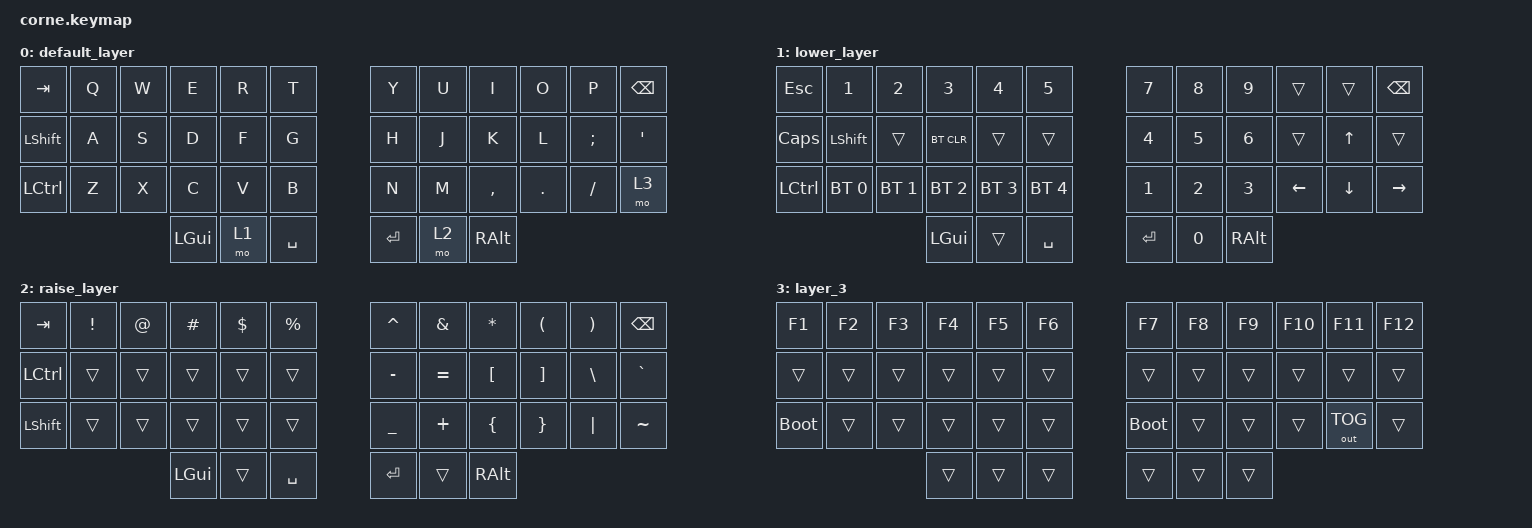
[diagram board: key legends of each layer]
/*
 * Copyright (c) 2020 The ZMK Contributors
 *
 * SPDX-License-Identifier: MIT
 */

#include <behaviors.dtsi>
#include <dt-bindings/zmk/bt.h>
#include <dt-bindings/zmk/keys.h>
#include <dt-bindings/zmk/outputs.h>

/ {
    keymap {
        compatible = "zmk,keymap";

        default_layer {
            // -----------------------------------------------------------------------------------------
            // |  TAB |  Q  |  W  |  E  |  R  |  T  |   |  Y  |  U   |  I  |  O  |  P  | BSPC |
            // | CTRL |  A  |  S  |  D  |  F  |  G  |   |  H  |  J   |  K  |  L  |  ;  |  '   |
            // | SHFT |  Z  |  X  |  C  |  V  |  B  |   |  N  |  M   |  ,  |  .  |  /  | ESC  |
            //                    | GUI | LWR | SPC |   | ENT | RSE  | ALT |

            bindings = <
&kp TAB           &kp Q  &kp W  &kp E     &kp R  &kp T        &kp Y      &kp U  &kp I      &kp O    &kp P     &kp BSPC
&kp LEFT_SHIFT    &kp A  &kp S  &kp D     &kp F  &kp G        &kp H      &kp J  &kp K      &kp L    &kp SEMI  &kp SINGLE_QUOTE
&kp LEFT_CONTROL  &kp Z  &kp X  &kp C     &kp V  &kp B        &kp N      &kp M  &kp COMMA  &kp DOT  &kp FSLH  &mo 3
                                &kp LGUI  &mo 1  &kp SPACE    &kp ENTER  &mo 2  &kp RALT
            >;
        };

        lower_layer {
            // -----------------------------------------------------------------------------------------
            // |  TAB |  1  |  2  |  3  |  4  |  5  |   |  6  |  7  |  8  |  9  |  0  | BSPC |
            // | BTCLR| BT1 | BT2 | BT3 | BT4 | BT5 |   | LFT | DWN |  UP | RGT |     |      |
            // | SHFT |     |     |     |     |     |   |     |     |     |     |     |      |
            //                    | GUI |     | SPC |   | ENT |     | ALT |

            bindings = <
&kp ESC       &kp N1        &kp N2        &kp N3        &kp N4        &kp N5          &kp N7   &kp N8  &kp N9    &trans    &trans    &kp BSPC
&kp CAPSLOCK  &kp LSHFT     &trans        &bt BT_CLR    &trans        &trans          &kp N4   &kp N5  &kp N6    &trans    &kp UP    &trans
&kp LCTRL     &bt BT_SEL 0  &bt BT_SEL 1  &bt BT_SEL 2  &bt BT_SEL 3  &bt BT_SEL 4    &kp N1   &kp N2  &kp N3    &kp LEFT  &kp DOWN  &kp RIGHT
                                          &kp LGUI      &trans        &kp SPACE       &kp RET  &kp N0  &kp RALT
            >;
        };

        raise_layer {
            // -----------------------------------------------------------------------------------------
            // |  TAB |  !  |  @  |  #  |  $  |  %  |   |  ^  |  &  |  *  |  (  |  )  | BSPC |
            // | CTRL |     |     |     |     |     |   |  -  |  =  |  [  |  ]  |  \  |  `   |
            // | SHFT |     |     |     |     |     |   |  _  |  +  |  {  |  }  | "|" |  ~   |
            //                    | GUI |     | SPC |   | ENT |     | ALT |

            bindings = <
&kp TAB    &kp EXCL  &kp AT  &kp HASH  &kp DLLR  &kp PRCNT    &kp CARET  &kp AMPS   &kp ASTRK  &kp LPAR  &kp RPAR  &kp BSPC
&kp LCTRL  &trans    &trans  &trans    &trans    &trans       &kp MINUS  &kp EQUAL  &kp LBKT   &kp RBKT  &kp BSLH  &kp GRAVE
&kp LSHFT  &trans    &trans  &trans    &trans    &trans       &kp UNDER  &kp PLUS   &kp LBRC   &kp RBRC  &kp PIPE  &kp TILDE
                             &kp LGUI  &trans    &kp SPACE    &kp RET    &trans     &kp RALT
            >;
        };

        layer_3 {
            bindings = <
&kp F1       &kp F2  &kp F3  &kp F4  &kp F5  &kp F6    &kp F7  &kp F8  &kp F9  &kp F10  &kp F11  &kp F12
&trans       &trans  &trans  &trans  &trans  &trans    &trans  &trans  &trans  &trans   &trans   &trans
&bootloader  &trans  &trans  &trans  &trans  &trans    &bootloader  &trans  &trans  &trans   &out OUT_TOG  &trans
                             &trans  &trans  &trans    &trans  &trans  &trans
            >;
        };
    };
};
